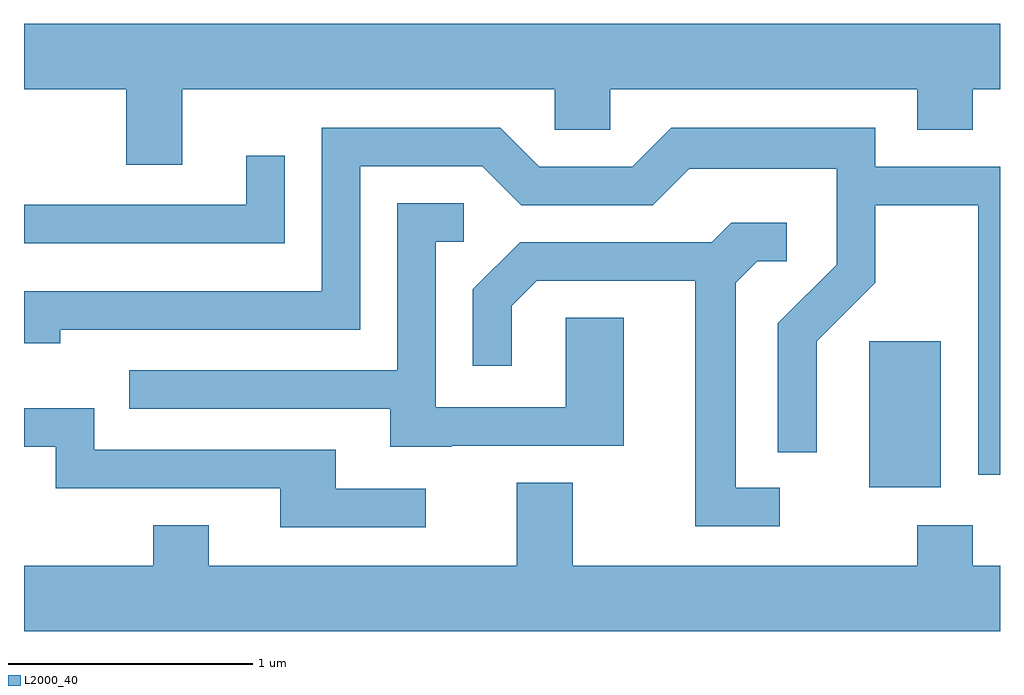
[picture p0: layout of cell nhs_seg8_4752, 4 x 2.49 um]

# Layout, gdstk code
import gdstk
lib = gdstk.Library(unit=1e-6, precision=1e-09)
def R(c, l, rs):  # rectangles x0, y0, x1, y1
    for r in rs: c.add(gdstk.rectangle(r[:2], r[2:], *l))
def P(c, l, *ps):  # polygons
    for p in ps: c.add(gdstk.Polygon(p, *l))
L2000_40 = (2000, 40)

nhs_seg8_4752 = lib.new_cell('nhs_seg8_4752')
R(nhs_seg8_4752, L2000_40, [(331.076,1863.646,331.369,1864.244)])
P(nhs_seg8_4752, L2000_40, [(328.259,1865.276),(329.786,1865.276),(329.786,1865.111),(330.014,1865.111),(330.014,1865.276),(331.271,1865.276),(331.271,1865.111),(331.499,1865.111),(331.499,1865.276),(331.611,1865.276),(331.611,1865.544),(327.611,1865.544),(327.611,1865.276),(328.031,1865.276),(328.031,1864.966),(328.259,1864.966)],
  [(331.611,1864.959),(331.099,1864.959),(331.099,1865.119),(330.264,1865.119),(330.104,1864.959),(329.722,1864.959),(329.562,1865.119),(328.831,1865.119),(328.831,1864.449),(327.611,1864.449),(327.611,1864.236),(327.759,1864.236),(327.759,1864.291),(328.989,1864.291),(328.989,1864.961),(329.489,1864.961),(329.649,1864.801),(330.187,1864.801),(330.337,1864.951),(330.941,1864.951),(330.941,1864.557),(330.701,1864.317),(330.701,1863.788),(330.859,1863.788),(330.859,1864.244),(331.099,1864.484),(331.099,1864.801),(331.521,1864.801),(331.521,1863.696),(331.611,1863.696)],
  [(328.679,1865.003),(328.521,1865.003),(328.521,1864.804),(327.611,1864.804),(327.611,1864.646),(328.679,1864.646)],
  [(329.365,1863.816),(330.069,1863.816),(330.069,1864.339),(329.831,1864.339),(329.831,1863.974),(329.299,1863.974),(329.299,1864.651),(329.413,1864.651),(329.413,1864.809),(329.141,1864.809),(329.141,1864.124),(328.043,1864.124),(328.043,1863.966),(329.111,1863.966),(329.111,1863.811),(329.365,1863.811)],
  [(330.708,1863.644),(330.529,1863.644),(330.529,1864.484),(330.617,1864.571),(330.738,1864.571),(330.738,1864.729),(330.509,1864.729),(330.429,1864.649),(329.644,1864.649),(329.451,1864.457),(329.451,1864.143),(329.609,1864.143),(329.609,1864.389),(329.712,1864.491),(330.361,1864.491),(330.361,1863.486),(330.708,1863.486)],
  [(329.258,1863.639),(328.889,1863.639),(328.889,1863.799),(327.899,1863.799),(327.899,1863.969),(327.611,1863.969),(327.611,1863.811),(327.741,1863.811),(327.741,1863.641),(328.661,1863.641),(328.661,1863.481),(329.258,1863.481)],
  [(331.611,1863.324),(331.499,1863.324),(331.499,1863.489),(331.271,1863.489),(331.271,1863.324),(329.859,1863.324),(329.859,1863.664),(329.631,1863.664),(329.631,1863.324),(328.369,1863.324),(328.369,1863.489),(328.141,1863.489),(328.141,1863.324),(327.611,1863.324),(327.611,1863.056),(331.611,1863.056)])

lib.write_gds('nhs_seg8_4752.gds')
